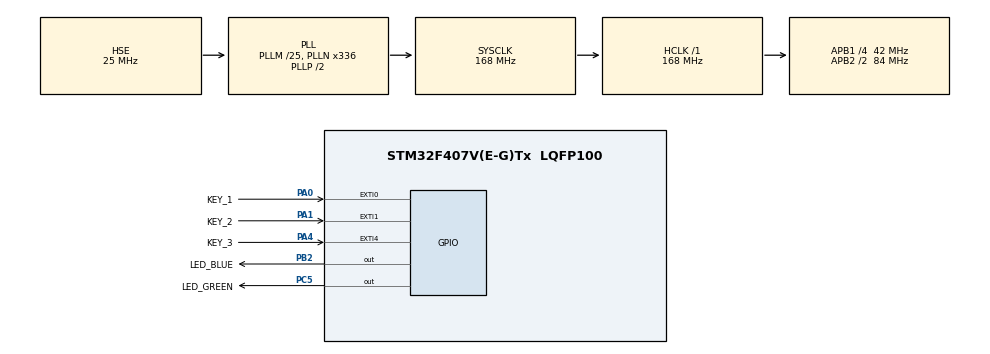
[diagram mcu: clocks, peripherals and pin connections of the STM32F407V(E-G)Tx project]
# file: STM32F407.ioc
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Mcu.Family=STM32F4
Mcu.Name=STM32F407V(E-G)Tx
Mcu.Package=LQFP100
NVIC.EXTI0_IRQn=true\:0\:0\:false\:false\:true\:true\:true\:true
NVIC.EXTI1_IRQn=true\:0\:0\:false\:false\:true\:true\:true\:true
NVIC.EXTI4_IRQn=true\:0\:0\:false\:false\:true\:true\:true\:true
NVIC.PriorityGroup=NVIC_PRIORITYGROUP_4
PA0-WKUP.GPIO_Label=KEY_1
PA0-WKUP.GPIO_PuPd=GPIO_PULLDOWN
PA0-WKUP.Signal=GPXTI0
PA1.GPIO_Label=KEY_2
PA1.GPIO_ModeDefaultEXTI=GPIO_MODE_IT_FALLING
PA1.GPIO_PuPd=GPIO_PULLUP
PA1.Signal=GPXTI1
PA13.Mode=Serial_Wire
PA13.Signal=SYS_JTMS-SWDIO
PA14.Mode=Serial_Wire
PA14.Signal=SYS_JTCK-SWCLK
PA4.GPIO_Label=KEY_3
PA4.GPIO_ModeDefaultEXTI=GPIO_MODE_IT_FALLING
PA4.GPIO_PuPd=GPIO_PULLUP
PA4.Signal=GPXTI4
PB2.GPIO_Label=LED_BLUE
PB2.GPIO_PuPd=GPIO_NOPULL
PB2.PinState=GPIO_PIN_RESET
PB2.Signal=GPIO_Output
PC5.GPIO_Label=LED_GREEN
PC5.GPIO_PuPd=GPIO_NOPULL
PC5.Signal=GPIO_Output
PH0-OSC_IN.Mode=HSE-External-Oscillator
PH0-OSC_IN.Signal=RCC_OSC_IN
PH1-OSC_OUT.Mode=HSE-External-Oscillator
PH1-OSC_OUT.Signal=RCC_OSC_OUT
ProjectManager.HeapSize=0x200
ProjectManager.StackSize=0x1000
ProjectManager.TargetToolchain=MDK-ARM V5.32
RCC.48MHZClocksFreq_Value=48000000
RCC.AHBFreq_Value=168000000
RCC.APB1CLKDivider=RCC_HCLK_DIV4
RCC.APB1Freq_Value=42000000
RCC.APB1TimFreq_Value=84000000
RCC.APB2CLKDivider=RCC_HCLK_DIV2
RCC.APB2Freq_Value=84000000
RCC.APB2TimFreq_Value=168000000
RCC.CortexFreq_Value=168000000
RCC.HCLKFreq_Value=168000000
RCC.HSE_VALUE=25000000
RCC.HSI_VALUE=16000000
RCC.LSE_VALUE=32768
RCC.PLLM=25
RCC.PLLN=336
RCC.PLLQ=7
RCC.PLLSourceVirtual=RCC_PLLSOURCE_HSE
RCC.SYSCLKFreq_VALUE=168000000
RCC.SYSCLKSource=RCC_SYSCLKSOURCE_PLLCLK
RCC.VCOOutputFreq_Value=336000000
board=custom

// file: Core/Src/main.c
/* USER CODE BEGIN Header */
/**==================================================================================================================
 ** 【代码编写】  魔女开发板团队
 ** 【淘    宝】  魔女开发板       https://demoboard.taobao.com
 **==================================================================================================================
 ** 【实验名称】  DHT11 温湿度传感器数据获取
 **
 ** 【适用平台】  STM32F407 + Keil5 + HAL库 + DHT11
 **
 ** 【功能概述】  本程序通过单总线协议读取 DHT11 温湿度传感器的数据，并通过串口输出。
 **               1. 初始化系统时钟、GPIO 及 UART1
 **               2. 初始化 DHT11 传感器，指定数据引脚（PC3）
 **               3. 主循环中每 1 秒读取一次温湿度值，通过串口打印
 **               4. 绿色 LED 每 500ms 闪烁一次，指示系统运行状态
 **               5. 按键中断（KEY1/KEY2/KEY3）控制蓝色 LED 状态反转并输出提示
 **
 ** 【硬件接线】  DHT11 接线（可根据需要修改引脚，在 DHT11_Init 调用时指定）：
 **               VCC   — 3.3V 或 5V
 **               DATA  — PC3
 **               GND   — GND
 **               注意：若使用单独的 DHT11 元件（无上拉电阻），建议外接 4.7kΩ 上拉电阻；
 **               若使用 DHT11 模块（带 PCB 底板），已内置上拉电阻，可直接连接。
 **
 ** 【划重点】    1. 供电范围：3.3V~5.0V，工作电流 0.2~1mA，待机电流 150μA
 **               2. 上电稳定时间：不同厂家 DHT11 上电后需 1s~6s 才能稳定，若首次读取错误，可增加第一次采集前的延时
 **               3. 采样周期：建议采样间隔 ≥ 1 秒，过快可能导致通信失败
 **               4. 时序要求：DHT11 通信时序为微秒级，若使用粗略延时，不同编译优化等级可能导致失败，建议使用定时器精确延时
 **               5. 精度说明：旧版 DHT11 仅整数部分有效，新版可输出小数部分；温度精度 ±2℃，湿度精度 ±5%
 **
 ** 【移植说明】  1. 复制 bsp_DHT11.c 和 bsp_DHT11.h 到工程目录
 **               2. 在 Keil 中添加文件路径：Options → C/C++ → Include Paths
 **               3. 将 bsp_DHT11.c 添加到工程
 **               4. 在需要使用 DHT11 的文件中包含 #include "bsp_DHT11.h"
 **               5. 调用 DHT11_Init(GPIOx, GPIO_PIN_x) 初始化引脚
 **               6. 调用 DHT11_GetTemperature() 和 DHT11_GetHumidity() 获取数据
 **
 ** 【函数使用】  已封装好初始化及数据获取函数，使用简单：
 **               1. DHT11_Init(GPIO_TypeDef* GPIOx, uint16_t GPIO_Pin)   // 初始化，指定引脚
 **               2. float DHT11_GetTemperature(void)                     // 获取温度值（℃）
 **               3. float DHT11_GetHumidity(void)                        // 获取湿度值（%）
 **
 ** 【实验现象】  1. 串口助手每 1 秒输出一次温湿度数据，格式：DHT11  温度:xx.x℃   湿度:xx.xRH%
 **               2. 绿色 LED 每 500ms 闪烁一次，指示程序运行
 **               3. 按下 KEY1/KEY2/KEY3，蓝色 LED 状态反转，串口输出相应提示
 **
 ** 【调试建议】  1. 首次读取数据错误时，可延长 DHT11_Init 前的延时，等待传感器稳定
 **               2. 若通信失败，检查数据线连接及上拉电阻，并用示波器或逻辑分析仪抓取时序
 **               3. 若使用系统滴答延时（HAL_Delay）影响时序，可改用定时器实现微秒延时
 **               4. 不同编译优化等级可能影响延时精度，建议优化等级设为 0 或使用精确延时
 **
 ** 【更新记录】  2024-02-19  优化代码结构，增加详细注释
 **               2024-02-17  从标准库迁移至 HAL 库
 **
 ** 【备注说明】  版权归魔女科技所有，仅供学习使用，请勿用于商业用途。
 **               https://demoboard.taobao.com
 **
==================================================================================================================**/
/* USER CODE END Header */
#include "main.h"
#include "gpio.h"

/* USER CODE BEGIN Includes */
#include "bsp_UART.h"            // 串口通信
#include "bsp_DHT11.h"           // 温湿度 DHT11

/* USER CODE END Includes */

void SystemClock_Config(void);

int main(void)
{

    /* USER CODE BEGIN 1 */

    /* 说明：
     * 1. 不要删除CubeMX生成的注释行（形如 USER CODE BEGIN/END），这些注释用于代码重新生成时的定位
     * 2. 所有用户自定义代码必须写在对应的BEGIN与END注释行之间，否则重新生成时会被覆盖
     * 3. 主要初始化函数说明：
     *    - HAL_Init()            初始化HAL库，配置中断优先级、系统时基等
     *    - SystemClock_Config()  配置系统时钟
     *    - MX_GPIO_Init()        初始化GPIO引脚（仅包含推挽输出、中断触发等配置）
     *    - 外设功能引脚（如UART、SPI等）的初始化在各自的功能文件中
     */

    /* USER CODE END 1 */

    /* MCU Configuration--------------------------------------------------------*/

    /* Reset of all peripherals, Initializes the Flash interface and the Systick. */
    HAL_Init();

    /* Configure the system clock */
    SystemClock_Config();

    /* Initialize all configured peripherals */
    MX_GPIO_Init();
    /* USER CODE BEGIN 2 */
    // 所用用户代码，必须写在配对的BEGIN与END注释之间，否则重新生成时会被自动删除

    UART1_Init(115200);               // 初始化 UART1; 用于printf调试信息到串口助手

    DHT11_Init(GPIOC, GPIO_PIN_3);    // 初始化 DHT11、指定数据引脚

    /* USER CODE END 2 */

    /* Infinite loop */
    while (1)
    {

        /* USER CODE BEGIN 3 */

        // 所用用户代码，必须写在配对的BEGIN与END注释之间，否则重新生成时会被自动删除

        HAL_Delay(1 - 1);                                      // 延时函数，参数：ms; 注意：CubeMX生成的HAL_Delay(), 函数内部为避免无效操作，会对传入参数+1，因此，如果只需要几ms延时建议传入参数时-1，如果需要大几百ms的非精准延时，那参数不-1也影响不大

        /** 每500ms执行一次的任务 **/
        static uint32_t lastTime_500ms = 0;                    // 定义静态变量，用于记录上次执行这个任务的时间点(单位：毫秒)
        if (HAL_GetTick() - lastTime_500ms >= 500)             // 检查当前时间距离上次执行是否已经过了500ms; HAL_GetTick()是获取启动后经过的毫秒数;
        {
            HAL_GPIO_TogglePin(GPIOC, GPIO_PIN_5);             // 控制绿色LED引脚电平翻转(PC5); 规律地闪烁LED，方便外部观察系统是否正常运行
            lastTime_500ms =   HAL_GetTick();                  // 记录当前时间，作为新的基准点，为下一次判断做准备
        }

        /** 每1000ms执行一次的任务 **/
        static uint32_t lastTime_1000ms = 0;                   // 定义静态变量，用于记录上次执行这个任务的时间点(单位：毫秒)
        if (HAL_GetTick() - lastTime_1000ms >= 1000)           // 每1000ms执行一次
        {
            static float temp = 0.0;                           // 用于存储温度值
            static float humi = 0.0;                           // 用于存储湿度值
            printf("DHT11  ");

            temp = DHT11_GetTemperature();                     // 获取DHT11温度值
            printf("温度:%4.1f℃   ", temp);                    // 把数据输出到电脑串口软件，方便观察

            humi =  DHT11_GetHumidity();                       // 获取DHT11湿度值
            printf("湿度:%4.1fRH%%\r\n", humi);                // 把数据输出到电脑串口软件，方便观察

            lastTime_1000ms =   HAL_GetTick();                 // 记录当前时间，作为新的基准点，为下一次判断做准备
        }

    }
    /* USER CODE END 3 */
}

void SystemClock_Config(void)
{
    RCC_OscInitTypeDef RCC_OscInitStruct = {0};
    RCC_ClkInitTypeDef RCC_ClkInitStruct = {0};

    /** Configure the main internal regulator output voltage
    */
    __HAL_RCC_PWR_CLK_ENABLE();
    __HAL_PWR_VOLTAGESCALING_CONFIG(PWR_REGULATOR_VOLTAGE_SCALE1);

    /** Initializes the RCC Oscillators according to the specified parameters
    * in the RCC_OscInitTypeDef structure.
    */
    RCC_OscInitStruct.OscillatorType = RCC_OSCILLATORTYPE_HSE;
    RCC_OscInitStruct.HSEState = RCC_HSE_ON;
    RCC_OscInitStruct.PLL.PLLState = RCC_PLL_ON;
    RCC_OscInitStruct.PLL.PLLSource = RCC_PLLSOURCE_HSE;
    RCC_OscInitStruct.PLL.PLLM = 25;
    RCC_OscInitStruct.PLL.PLLN = 336;
    RCC_OscInitStruct.PLL.PLLP = RCC_PLLP_DIV2;
    RCC_OscInitStruct.PLL.PLLQ = 7;
    if (HAL_RCC_OscConfig(&RCC_OscInitStruct) != HAL_OK)
    {
        Error_Handler();
    }

    /** Initializes the CPU, AHB and APB buses clocks
    */
    RCC_ClkInitStruct.ClockType = RCC_CLOCKTYPE_HCLK | RCC_CLOCKTYPE_SYSCLK
                                  | RCC_CLOCKTYPE_PCLK1 | RCC_CLOCKTYPE_PCLK2;
    RCC_ClkInitStruct.SYSCLKSource = RCC_SYSCLKSOURCE_PLLCLK;
    RCC_ClkInitStruct.AHBCLKDivider = RCC_SYSCLK_DIV1;
    RCC_ClkInitStruct.APB1CLKDivider = RCC_HCLK_DIV4;
    RCC_ClkInitStruct.APB2CLKDivider = RCC_HCLK_DIV2;

    if (HAL_RCC_ClockConfig(&RCC_ClkInitStruct, FLASH_LATENCY_5) != HAL_OK)
    {
        Error_Handler();
    }
}

/* USER CODE BEGIN 4 */
// 所用用户代码，必须写在配对的BEGIN与END注释之间，否则重新生成时会被自动删除

/******************************************************************************
 * 函  数： HAL_GPIO_EXTI_Callback
 * 功  能： EXTI中断回调函数
 * 参  数： uint16_t  GPIO_Pin    引脚编号，参数范围：GPIO_Pin_0 ~ GPIO_Pin_15
 * 返回值： 无
 * 备  注： CubeMX生成的代码在思维和风格上，与使用标准库编写时有很大的区别。
 *          1：这个是回调函数，不是中断服务函数。完整的调用：EXTIx_IRQHandler() > HAL_GPIO_EXTI_IRQHandler(GPIO_PIN_x) > HAL_GPIO_EXTI_Callback(GPIO_PIN_x)
 *          2：必须使用这个函数名称，因为它在CubeMX生成时，已被写好了各种函数调用、函数弱定义(在stm32xx_hal_gpio.c的底部); 不建议在原弱定义中增添代码，而是重写本函数
 *          3：中断条件触发后，本函数被自动调用，无需进行人工调用; 也无需进行中断标志的清理，因为HAL_GPIO_EXTI_IRQHandler()函数中已有操作;
 *          4：生成的所有EXTI中断服务函数，都统一调用这个函数，以引脚编号作参数
 *          5：判断参数传进来的引脚编号，即可知道是哪个外部中断线产生的中断信号
******************************************************************************/
void HAL_GPIO_EXTI_Callback(uint16_t GPIO_Pin)
{
    if (GPIO_Pin == KEY_1_Pin)                                  // 按键1 产生的中断信号：KEY_1、PA0、闲时下拉、按下时高电平、上升沿触发
    {
        HAL_GPIO_TogglePin(GPIOB, GPIO_PIN_2);                  // 反转蓝色LED灯
        printf("KEY_1 按下\r");                                 // 通过串口助手输出提示
        //XPT2046_ReCalibration();                              // 触摸屏重新校准
    }

    if (GPIO_Pin == KEY_2_Pin)                                  // 按键2 产生的中断信号：KEY_2、PA1、闲时上拉、按下时低电平、下降沿触发
    {
        HAL_GPIO_TogglePin(GPIOB, GPIO_PIN_2);                  // 反转蓝色LED灯
        printf("KEY_2 按下\r");                                 // 通过串口助手输出提示
    }

    if (GPIO_Pin == KEY_3_Pin)                                  // 按键3 产生的中断信号：KEY_3、PA4、闲时上拉、按下低高电平、下降沿触发
    {
        HAL_GPIO_TogglePin(GPIOB, GPIO_PIN_2);                  // 反转蓝色LED灯
        printf("KEY_3 按下\r");                                 // 通过串口助手输出提示
    }
}

/* USER CODE END 4 */

void Error_Handler(void)
{
    __disable_irq();
    while (1)
    {
    }
}
